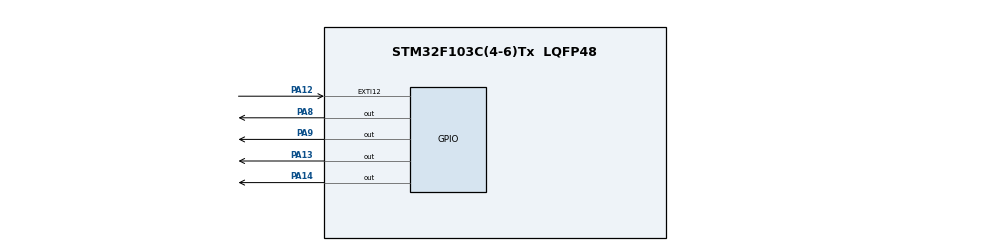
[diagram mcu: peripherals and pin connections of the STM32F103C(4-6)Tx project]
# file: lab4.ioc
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Mcu.Family=STM32F1
VP_SYS_VS_ND.Mode=No_Debug
ProjectManager.StackSize=0x400
PA13.Signal=GPIO_Output
PA12.Signal=GPXTI12
ProjectManager.TargetToolchain=STM32CubeIDE
TIM3.Period=120
PA9.Signal=GPIO_Output
NVIC.EXTI15_10_IRQn=true\:0\:0\:false\:true\:true\:2\:true\:true
board=custom
NVIC.TIM3_IRQn=true\:0\:0\:false\:true\:true\:3\:true\:true
RCC.APB2Freq_Value=8000000
VP_TIM2_VS_ClockSourceINT.Mode=Internal
TIM3.Prescaler=40000
NVIC.TIM2_IRQn=true\:0\:0\:false\:true\:true\:1\:true\:true
PA8.Signal=GPIO_Output
TIM2.Period=200
Mcu.Name=STM32F103C(4-6)Tx
Mcu.Package=LQFP48
TIM2.Prescaler=8000
PA14.Signal=GPIO_Output
ProjectManager.HeapSize=0x200
NVIC.PriorityGroup=NVIC_PRIORITYGROUP_4
TIM2.TIM_MasterOutputTrigger=TIM_TRGO_UPDATE
TIM3.TIM_MasterOutputTrigger=TIM_TRGO_UPDATE
RCC.APB1Freq_Value=8000000
VP_TIM3_VS_ClockSourceINT.Mode=Internal

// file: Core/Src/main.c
/* USER CODE BEGIN Header */
/**
  ******************************************************************************
  * @file           : main.c
  * @brief          : Main program body
  ******************************************************************************
  * @attention
  *
  * <h2><center>&copy; Copyright (c) 2021 STMicroelectronics.
  * All rights reserved.</center></h2>
  *
  * This software component is licensed by ST under BSD 3-Clause license,
  * the "License"; You may not use this file except in compliance with the
  * License. You may obtain a copy of the License at:
  *                        opensource.org/licenses/BSD-3-Clause
  *
  ******************************************************************************
  */
/* USER CODE END Header */
#include "main.h"

TIM_HandleTypeDef htim2;
TIM_HandleTypeDef htim3;

void SystemClock_Config(void);
static void MX_GPIO_Init(void);
static void MX_TIM2_Init(void);
static void MX_TIM3_Init(void);
static void MX_NVIC_Init(void);
/* USER CODE BEGIN PFP */
void HAL_GPIO_EXTI_Callback(uint16_t GPIO_Pin);
void HAL_TIM_PeriodElapsedCallback(TIM_HandleTypeDef *htim);
/* USER CODE END PFP */

int main(void)
{

  /* MCU Configuration--------------------------------------------------------*/

  /* Reset of all peripherals, Initializes the Flash interface and the Systick. */
  HAL_Init();

  /* Configure the system clock */
  SystemClock_Config();

  /* Initialize all configured peripherals */
  MX_GPIO_Init();
  MX_TIM2_Init();
  MX_TIM3_Init();

  /* Initialize interrupts */
  MX_NVIC_Init();
  /* USER CODE BEGIN 2 */
  HAL_TIM_Base_Start_IT(&htim2);
  HAL_TIM_Base_Start_IT(&htim3);
  /* USER CODE END 2 */

  /* Infinite loop */
  /* USER CODE BEGIN WHILE */
  while (1)
  {

	  HAL_GPIO_TogglePin(GPIOA, GPIO_PIN_13);
	  HAL_Delay(500);
    /* USER CODE END WHILE */

  }
}

void SystemClock_Config(void)
{
  RCC_OscInitTypeDef RCC_OscInitStruct = {0};
  RCC_ClkInitTypeDef RCC_ClkInitStruct = {0};

  /** Initializes the RCC Oscillators according to the specified parameters
  * in the RCC_OscInitTypeDef structure.
  */
  RCC_OscInitStruct.OscillatorType = RCC_OSCILLATORTYPE_HSI;
  RCC_OscInitStruct.HSIState = RCC_HSI_ON;
  RCC_OscInitStruct.HSICalibrationValue = RCC_HSICALIBRATION_DEFAULT;
  RCC_OscInitStruct.PLL.PLLState = RCC_PLL_NONE;
  if (HAL_RCC_OscConfig(&RCC_OscInitStruct) != HAL_OK)
  {
    Error_Handler();
  }
  /** Initializes the CPU, AHB and APB buses clocks
  */
  RCC_ClkInitStruct.ClockType = RCC_CLOCKTYPE_HCLK|RCC_CLOCKTYPE_SYSCLK
                              |RCC_CLOCKTYPE_PCLK1|RCC_CLOCKTYPE_PCLK2;
  RCC_ClkInitStruct.SYSCLKSource = RCC_SYSCLKSOURCE_HSI;
  RCC_ClkInitStruct.AHBCLKDivider = RCC_SYSCLK_DIV1;
  RCC_ClkInitStruct.APB1CLKDivider = RCC_HCLK_DIV1;
  RCC_ClkInitStruct.APB2CLKDivider = RCC_HCLK_DIV1;

  if (HAL_RCC_ClockConfig(&RCC_ClkInitStruct, FLASH_LATENCY_0) != HAL_OK)
  {
    Error_Handler();
  }
}

/**
  * @brief NVIC Configuration.
  * @retval None
  */
static void MX_NVIC_Init(void)
{
  /* TIM2_IRQn interrupt configuration */
  HAL_NVIC_SetPriority(TIM2_IRQn, 0, 0);
  HAL_NVIC_EnableIRQ(TIM2_IRQn);
  /* EXTI15_10_IRQn interrupt configuration */
  HAL_NVIC_SetPriority(EXTI15_10_IRQn, 0, 0);
  HAL_NVIC_EnableIRQ(EXTI15_10_IRQn);
  /* TIM3_IRQn interrupt configuration */
  HAL_NVIC_SetPriority(TIM3_IRQn, 0, 0);
  HAL_NVIC_EnableIRQ(TIM3_IRQn);
}

static void MX_TIM2_Init(void)
{

  TIM_ClockConfigTypeDef sClockSourceConfig = {0};
  TIM_MasterConfigTypeDef sMasterConfig = {0};

  htim2.Instance = TIM2;
  htim2.Init.Prescaler = 8000;
  htim2.Init.CounterMode = TIM_COUNTERMODE_UP;
  htim2.Init.Period = 200;
  htim2.Init.ClockDivision = TIM_CLOCKDIVISION_DIV1;
  htim2.Init.AutoReloadPreload = TIM_AUTORELOAD_PRELOAD_DISABLE;
  if (HAL_TIM_Base_Init(&htim2) != HAL_OK)
  {
    Error_Handler();
  }
  sClockSourceConfig.ClockSource = TIM_CLOCKSOURCE_INTERNAL;
  if (HAL_TIM_ConfigClockSource(&htim2, &sClockSourceConfig) != HAL_OK)
  {
    Error_Handler();
  }
  sMasterConfig.MasterOutputTrigger = TIM_TRGO_UPDATE;
  sMasterConfig.MasterSlaveMode = TIM_MASTERSLAVEMODE_DISABLE;
  if (HAL_TIMEx_MasterConfigSynchronization(&htim2, &sMasterConfig) != HAL_OK)
  {
    Error_Handler();
  }

}

static void MX_TIM3_Init(void)
{

  TIM_ClockConfigTypeDef sClockSourceConfig = {0};
  TIM_MasterConfigTypeDef sMasterConfig = {0};

  htim3.Instance = TIM3;
  htim3.Init.Prescaler = 40000;
  htim3.Init.CounterMode = TIM_COUNTERMODE_UP;
  htim3.Init.Period = 120;
  htim3.Init.ClockDivision = TIM_CLOCKDIVISION_DIV1;
  htim3.Init.AutoReloadPreload = TIM_AUTORELOAD_PRELOAD_DISABLE;
  if (HAL_TIM_Base_Init(&htim3) != HAL_OK)
  {
    Error_Handler();
  }
  sClockSourceConfig.ClockSource = TIM_CLOCKSOURCE_INTERNAL;
  if (HAL_TIM_ConfigClockSource(&htim3, &sClockSourceConfig) != HAL_OK)
  {
    Error_Handler();
  }
  sMasterConfig.MasterOutputTrigger = TIM_TRGO_UPDATE;
  sMasterConfig.MasterSlaveMode = TIM_MASTERSLAVEMODE_DISABLE;
  if (HAL_TIMEx_MasterConfigSynchronization(&htim3, &sMasterConfig) != HAL_OK)
  {
    Error_Handler();
  }

}

static void MX_GPIO_Init(void)
{
  GPIO_InitTypeDef GPIO_InitStruct = {0};

  /* GPIO Ports Clock Enable */
  __HAL_RCC_GPIOA_CLK_ENABLE();

  /*Configure GPIO pin Output Level */
  HAL_GPIO_WritePin(GPIOA, GPIO_PIN_8|GPIO_PIN_9|GPIO_PIN_13|GPIO_PIN_14, GPIO_PIN_RESET);

  /*Configure GPIO pins : PA8 PA9 PA13 PA14 */
  GPIO_InitStruct.Pin = GPIO_PIN_8|GPIO_PIN_9|GPIO_PIN_13|GPIO_PIN_14;
  GPIO_InitStruct.Mode = GPIO_MODE_OUTPUT_PP;
  GPIO_InitStruct.Pull = GPIO_NOPULL;
  GPIO_InitStruct.Speed = GPIO_SPEED_FREQ_LOW;
  HAL_GPIO_Init(GPIOA, &GPIO_InitStruct);

  /*Configure GPIO pin : PA12 */
  GPIO_InitStruct.Pin = GPIO_PIN_12;
  GPIO_InitStruct.Mode = GPIO_MODE_IT_RISING;
  GPIO_InitStruct.Pull = GPIO_NOPULL;
  HAL_GPIO_Init(GPIOA, &GPIO_InitStruct);

}

/* USER CODE BEGIN 4 */
void HAL_TIM_PeriodElapsedCallback(TIM_HandleTypeDef *htim)
{
	if(htim->Instance == TIM2)
	{
		HAL_GPIO_TogglePin(GPIOA, GPIO_PIN_8);
	}

	if(htim->Instance == TIM3)
	{
		HAL_GPIO_TogglePin(GPIOA, GPIO_PIN_9);
	}

	if(HAL_GPIO_ReadPin(GPIOA, GPIO_PIN_9) == GPIO_PIN_SET && HAL_GPIO_ReadPin(GPIOA, GPIO_PIN_8) == GPIO_PIN_SET)
	{
		HAL_GPIO_TogglePin(GPIOA, GPIO_PIN_14);
	}
}

void HAL_GPIO_EXTI_Callback(uint16_t GPIO_Pin)
{
  if(GPIO_Pin == GPIO_PIN_12)
  {
	  if(HAL_TIM_Base_GetState(&htim3) == HAL_TIM_STATE_BUSY)
	  {
		  HAL_TIM_Base_Stop_IT(&htim2);
		  HAL_TIM_Base_Stop_IT(&htim3);
	  }
	  else
	  {
		  HAL_TIM_Base_Start_IT(&htim2);
		  HAL_TIM_Base_Start_IT(&htim3);
	  }
  }
}
/* USER CODE END 4 */

void Error_Handler(void)
{
  __disable_irq();
  while (1)
  {
  }
}

/************************ (C) COPYRIGHT STMicroelectronics *****END OF FILE****/
